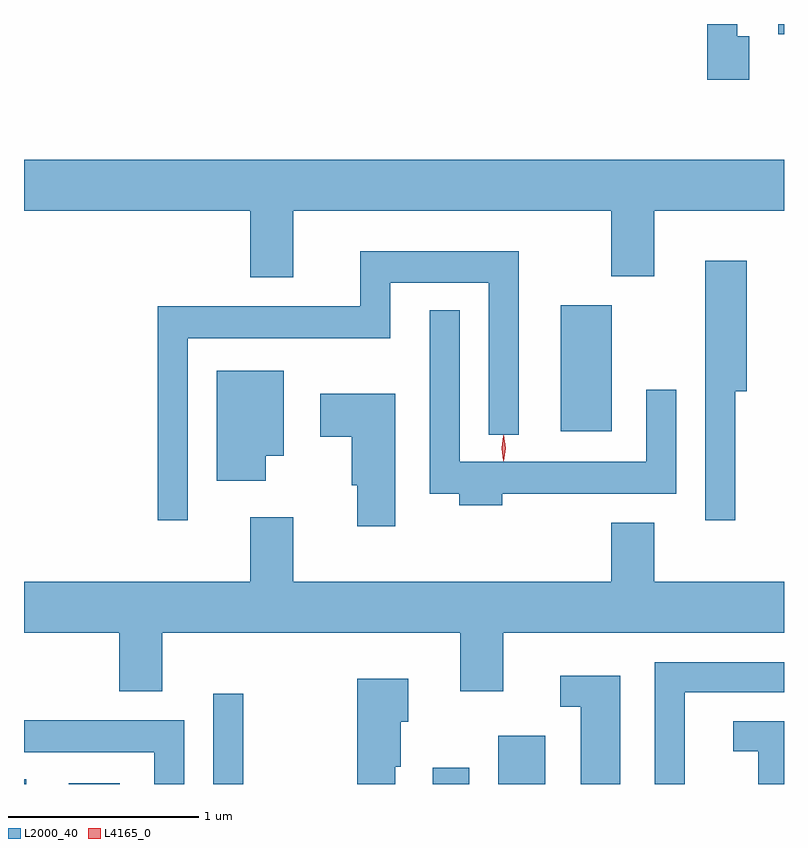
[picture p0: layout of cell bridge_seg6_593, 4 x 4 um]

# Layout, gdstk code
import gdstk
lib = gdstk.Library(unit=1e-6, precision=1e-09)
def R(c, l, rs):  # rectangles x0, y0, x1, y1
    for r in rs: c.add(gdstk.rectangle(r[:2], r[2:], *l))
def P(c, l, *ps):  # polygons
    for p in ps: c.add(gdstk.Polygon(p, *l))
L2000_40 = (2000, 40)
L4165_0 = (4165, 0)

bridge_seg6_593 = lib.new_cell('bridge_seg6_593')
R(bridge_seg6_593, L2000_40, [(542.101,1609.179,542.114,1609.203), (542.336,1609.179,542.604,1609.184), (543.096,1609.179,543.254,1609.653), (544.251,1609.179,544.444,1609.264), (544.596,1609.179,544.844,1609.434), (544.926,1611.036,545.194,1611.699), (546.071,1613.126,546.101,1613.179)])
P(bridge_seg6_593, L2000_40, [(545.919,1613.114),(545.854,1613.114),(545.854,1613.179),(545.696,1613.179),(545.696,1612.886),(545.919,1612.886)],
  [(543.519,1612.196),(545.191,1612.196),(545.191,1611.851),(545.419,1611.851),(545.419,1612.196),(546.101,1612.196),(546.101,1612.464),(542.101,1612.464),(542.101,1612.196),(543.291,1612.196),(543.291,1611.846),(543.519,1611.846)],
  [(542.964,1611.526),(544.029,1611.526),(544.029,1611.816),(544.546,1611.816),(544.546,1611.018),(544.704,1611.018),(544.704,1611.984),(543.871,1611.984),(543.871,1611.694),(542.806,1611.694),(542.806,1610.568),(542.964,1610.568)],
  [(545.844,1611.246),(545.904,1611.246),(545.904,1611.934),(545.686,1611.934),(545.686,1610.568),(545.844,1610.568)],
  [(544.619,1610.706),(545.534,1610.706),(545.534,1611.253),(545.376,1611.253),(545.376,1610.874),(544.394,1610.874),(544.394,1611.673),(544.236,1611.673),(544.236,1610.706),(544.391,1610.706),(544.391,1610.646),(544.619,1610.646)],
  [(543.374,1610.906),(543.469,1610.906),(543.469,1611.354),(543.116,1611.354),(543.116,1610.776),(543.374,1610.776)],
  [(544.054,1611.234),(543.661,1611.234),(543.661,1611.006),(543.826,1611.006),(543.826,1610.751),(543.856,1610.751),(543.856,1610.536),(544.054,1610.536)],
  [(542.829,1609.976),(544.396,1609.976),(544.396,1609.666),(544.624,1609.666),(544.624,1609.976),(546.101,1609.976),(546.101,1610.244),(545.419,1610.244),(545.419,1610.554),(545.191,1610.554),(545.191,1610.244),(543.519,1610.244),(543.519,1610.584),(543.291,1610.584),(543.291,1610.244),(542.101,1610.244),(542.101,1609.976),(542.601,1609.976),(542.601,1609.666),(542.829,1609.666)],
  [(545.579,1609.661),(546.101,1609.661),(546.101,1609.819),(545.421,1609.819),(545.421,1609.179),(545.579,1609.179)],
  [(545.239,1609.749),(544.923,1609.749),(544.923,1609.586),(545.031,1609.586),(545.031,1609.179),(545.239,1609.179)],
  [(544.054,1609.271),(544.084,1609.271),(544.084,1609.506),(544.124,1609.506),(544.124,1609.734),(543.856,1609.734),(543.856,1609.179),(544.054,1609.179)],
  [(542.944,1609.514),(542.101,1609.514),(542.101,1609.346),(542.786,1609.346),(542.786,1609.179),(542.944,1609.179)],
  [(546.101,1609.509),(545.833,1609.509),(545.833,1609.351),(545.966,1609.351),(545.966,1609.179),(546.101,1609.179)])
P(bridge_seg6_593, L4165_0, [(544.625,1610.879),(544.624,1610.88),(544.615,1610.946),(544.624,1611.012),(544.624,1611.013),(544.625,1611.012),(544.634,1610.946),(544.625,1610.88)],
  [(544.626,1610.877),(544.626,1610.877),(544.616,1610.947),(544.626,1611.016),(544.626,1611.016),(544.627,1611.016),(544.636,1610.947),(544.627,1610.877)])

lib.write_gds('bridge_seg6_593.gds')
